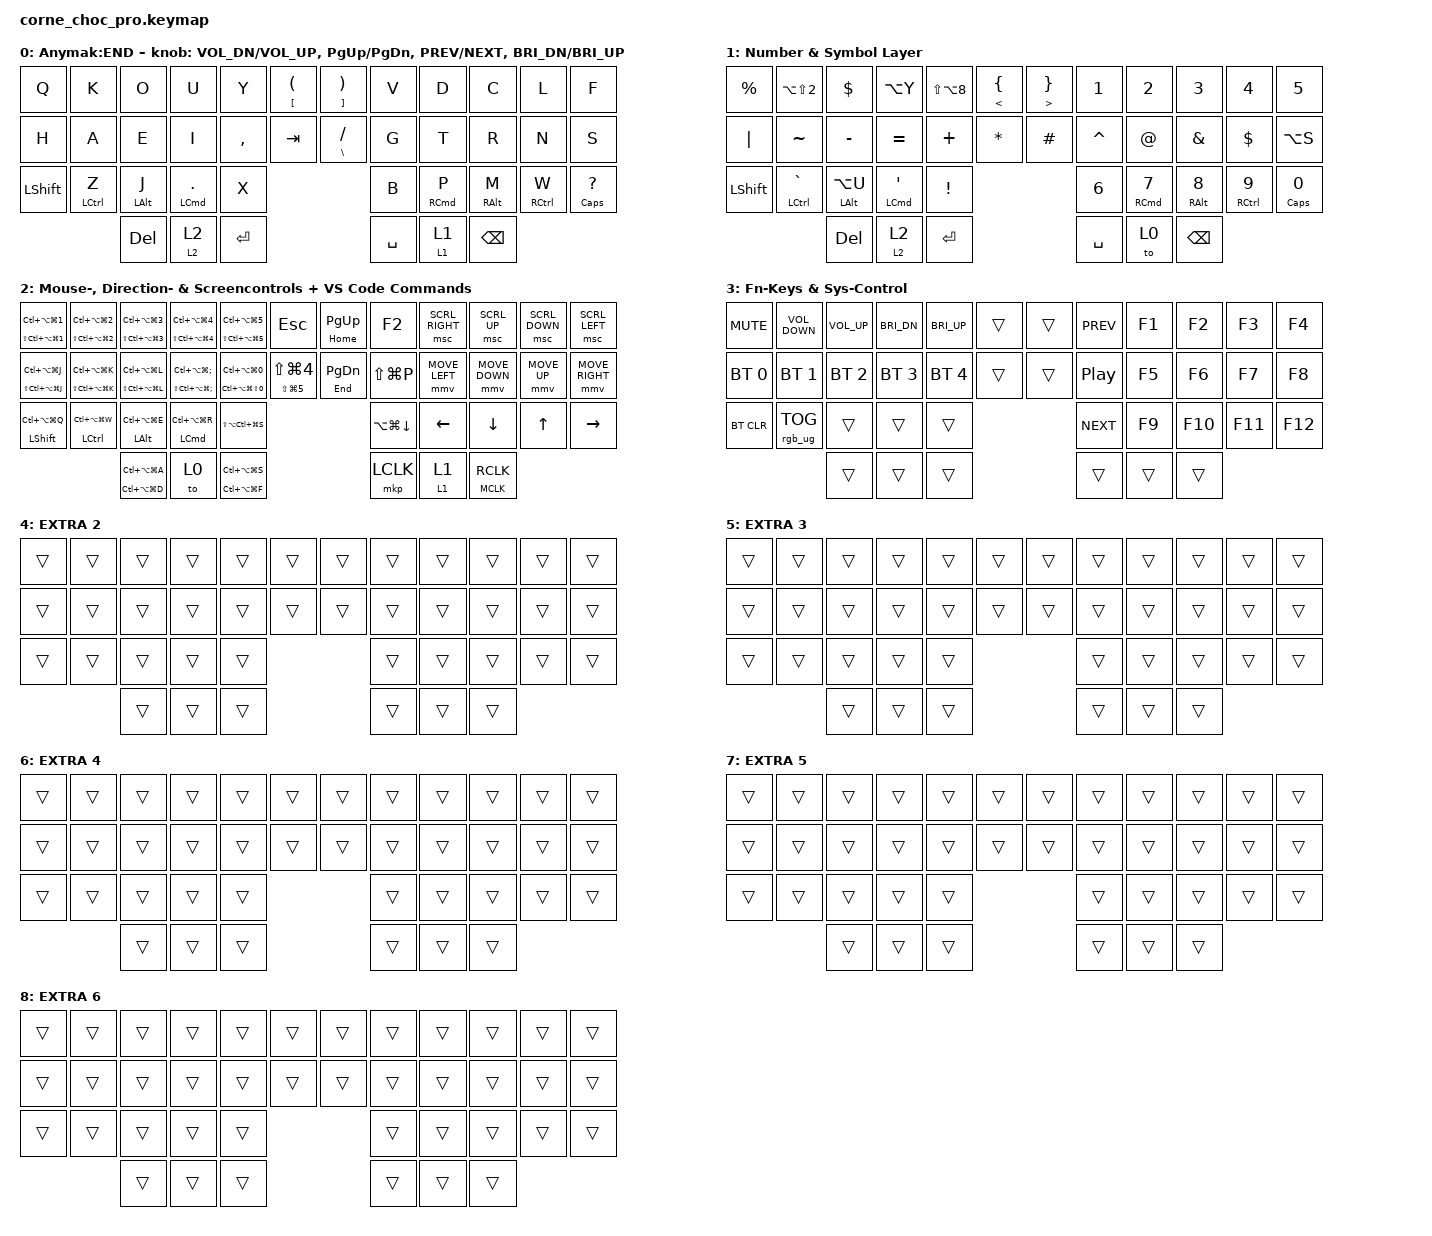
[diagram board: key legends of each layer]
/*
 * Copyright (c) 2020 The ZMK Contributors
 *
 * SPDX-License-Identifier: MIT
 */

#include <behaviors.dtsi>
#include <dt-bindings/zmk/bt.h>
#include <dt-bindings/zmk/keys.h>
#include <dt-bindings/zmk/pointing.h>
#include <dt-bindings/zmk/rgb.h>

&mt { flavor = "balanced"; };

/ {
    chosen { zmk,physical-layout = &five_col_layout; };
};

/ {
    combos {
        compatible = "zmk,combos";

        mo_control_layer {
            bindings = <&mo 3>;
            key-positions = <35 38>;
        };
    };

    behaviors {
        mo_to: mo_to {
            compatible = "zmk,behavior-hold-tap";
            label = "MO_TO";
            bindings = <&mo>, <&to>;

            #binding-cells = <2>;
            tapping-term-ms = <200>;
            flavor = "balanced";
        };

        mkp_ht: mkp_ht {
            compatible = "zmk,behavior-hold-tap";
            label = "MKP_HT";
            bindings = <&mkp>, <&mkp>;

            #binding-cells = <2>;
            tapping-term-ms = <200>;
            flavor = "balanced";
        };
    };

    keymap {
        compatible = "zmk,keymap";

        Alphabet {
            display-name = "Anymak:END";

            // ------------------------------------------------------------------------------
            // |  Q  |  K  |  O  |  U  |  Y  |  [ (  |  ] )  |  V  |  D  |  C  |  L  |  F  |
            // |  H  |  A  |  E  |  I  |  ,  |  TAB  |  / \  |  G  |  T  |  R  |  N  |  S  |
            // |  ⇧  | ⌃ Z | ⎇ J| ⌘ . |  X  |       |       |  B  | ⌘ P | ⎇ M | ⌃ M |  ⇪  |
            //             | DEL | LWR | ENT |       |       | SPC | RSE | BSP |
            //
            // Legend:
            // - () indicates Mod-Tap (e.g., [ becomes LEFT_BRACKET when tapped, LEFT_PARENTHESIS when held)
            // - ⎇ = Alt, ⌃ = Control, ⌘ = Command, ⇧ = Shift, ⇪ = Caps
            // - LWR = Layer 2, RSE = Layer 1

            bindings = <
  &kp Q           &kp K               &kp O           &kp U                    &kp Y      &mt LEFT_BRACKET LEFT_PARENTHESIS  &mt RIGHT_BRACKET RIGHT_PARENTHESIS  &kp V      &kp D                &kp C            &kp L                &kp F
  &kp H           &kp A               &kp E           &kp I                    &kp COMMA  &kp TAB                            &mt BACKSLASH SLASH                  &kp G      &kp T                &kp R            &kp N                &kp S
  &kp LEFT_SHIFT  &mt LEFT_CONTROL Z  &mt LEFT_ALT J  &mt LEFT_COMMAND PERIOD  &kp X                                                                              &kp B      &mt RIGHT_COMMAND P  &mt RIGHT_ALT M  &mt RIGHT_CONTROL W  &mt CAPSLOCK QUESTION
                                      &kp DELETE      &mo_to 2 2               &kp ENTER                                                                          &kp SPACE  &mo_to 1 1           &kp BACKSPACE
            >;

            sensor-bindings = <&inc_dec_kp C_VOL_DN C_VOL_UP &inc_dec_kp PG_UP PG_DN &inc_dec_kp C_PREV C_NEXT &inc_dec_kp C_BRI_DN C_BRI_UP>;
        };

        Numbers_and_Symbols {
            display-name = "Number & Symbol Layer";

            // -----------------------------------------------------------------------------
            // |  %  |  @  |  $  |  Y  |  *^ |  < {  |  > }  |  1  |  2  |  3  |  4  |  5  |
            // |  |  |  ~  |  =  |  -  |  +  |  #    |   *   |  @  | ←   |  ↓  |  ↑   |  →  |
            // | ⇧ & | ⌃ ` | ⎇ U |⌘ ' | ! ? |               |  6  | ⌘ 7 | ⎇ 8 |  ⌃ 9 | ⇪ 0 |
            //             |     |     |     |               |     |     |     |
            //
            // Legend:
            // - ⎇ = Alt, ⌃ = Control, ⌘ = Command, ⇧ = Shift, ⇪ = Caps
            // - () indicates Mod-Tap
            // - Layer is mainly numeric/symbol with modifiers and nav keys

            bindings = <
  &kp PERCENT     &kp LA(LS(NUMBER_2))    &kp DOLLAR          &kp LA(Y)             &kp LS(LA(N8))   &mt LESS_THAN LEFT_BRACE  &mt GREATER_THAN RIGHT_BRACE  &kp NUMBER_1  &kp NUMBER_2          &kp NUMBER_3      &kp NUMBER_4          &kp N5
  &kp PIPE        &kp TILDE               &kp MINUS           &kp EQUAL             &kp PLUS         &kp ASTERISK              &kp HASH                      &kp CARET     &kp AT                &kp AMPERSAND     &kp DOLLAR            &kp LA(S)
  &kp LEFT_SHIFT  &mt LEFT_CONTROL GRAVE  &mt LEFT_ALT LA(U)  &mt LEFT_COMMAND SQT  &kp EXCLAMATION                                                          &kp NUMBER_6  &mt RIGHT_COMMAND N7  &mt RIGHT_ALT N8  &mt RIGHT_CONTROL N9  &mt CAPSLOCK N0
                                          &kp DELETE          &mo_to 2 2            &kp ENTER                                                                &kp SPACE     &to 0                 &kp BACKSPACE
            >;
        };

        Controls_and_Macros {
            display-name = "Mouse-, Direction- &  Screencontrols + VS Code Commands";
            bindings = <
  &mt LS(LC(LA(LG(N1)))) LC(LA(LG(N1)))  &mt LS(LC(LA(LG(N2)))) LC(LA(LG(N2)))  &mt LS(LC(LA(LG(N3)))) LC(LA(LG(N3)))  &mt LS(LC(LA(LG(NUMBER_4)))) LC(LA(LG(NUMBER_4)))    &mt LS(LC(LA(LG(N5)))) LC(LA(LG(N5)))  &kp ESCAPE                 &mt HOME PAGE_UP   &kp F2            &msc SCRL_RIGHT  &msc SCRL_UP       &msc SCRL_DOWN  &msc SCRL_LEFT
  &mt LS(LC(LA(LG(J)))) LC(LA(LG(J)))    &mt LS(LC(LA(LG(K)))) LC(LA(LG(K)))    &mt LS(LC(LA(LG(L)))) LC(LA(LG(L)))    &mt LS(LC(LA(LG(SEMICOLON)))) LC(LA(LG(SEMICOLON)))  &mt LC(LA(LG(LS(N0)))) LC(LA(LG(N0)))  &mt LS(LG(N5)) LS(LG(N4))  &mt END PAGE_DOWN  &kp LS(LG(P))     &mmv MOVE_LEFT   &mmv MOVE_DOWN     &mmv MOVE_UP    &mmv MOVE_RIGHT
  &mt LEFT_SHIFT LC(LA(LG(Q)))           &mt LEFT_CONTROL LC(LA(LG(W)))         &mt LEFT_ALT LC(LA(LG(E)))             &mt LEFT_COMMAND LC(LA(LG(R)))                       &kp LS(LA(LC(LG(S))))                                                                &kp LA(LG(DOWN))  &kp LEFT         &kp DOWN           &kp UP          &kp RIGHT
                                                                                &mt LC(LA(LG(D))) LC(LA(LG(A)))        &to 0                                                &mt LC(LA(LG(F))) LC(LA(LG(S)))                                                      &mkp LCLK         &mo_to 1 1       &mkp_ht MCLK RCLK
            >;
        };

        fn_and_control {
            display-name = "Fn-Keys & Sys-Control";

            // --------------------------------------------------------------------------------
            // |  🔇  | VOL- | VOL+ | BRI- | BRI+ |       |       | ⏮  | F1   | F2   | F3  | F4  |
            // | BT1  | BT2  | BT3  | BT4  | BT5  |       |       | ⏯  | F5   | F6   | F7  | F8  |
            // | BCLR | RGB  | RST  |      |      |               | ⏭  | F9   | F10  | F11 | F12 |
            //               |      |      |      |               |     |      |      |
            //
            // Legend:
            // - 🔇 = Mute
            // - VOL-, VOL+ = Volume controls
            // - BRI-, BRI+ = Brightness controls
            // - ⏮ / ⏯ / ⏭ = Previous / Play-Pause / Next Track
            // - BT1–BT5 = Bluetooth Profile Selects
            // - BCLR = Clear Bluetooth Bonds
            // - RGB = Toggle RGB
            // - RST = Reset

            bindings = <
  &kp C_MUTE    &kp C_VOLUME_DOWN  &kp C_VOL_UP  &kp C_BRI_DN  &kp C_BRI_UP  &trans  &trans  &kp C_PREV  &kp F1  &kp F2   &kp F3   &kp F4
  &bt BT_SEL 0  &bt BT_SEL 1       &bt BT_SEL 2  &bt BT_SEL 3  &bt BT_SEL 4  &trans  &trans  &kp C_PP    &kp F5  &kp F6   &kp F7   &kp F8
  &bt BT_CLR    &rgb_ug RGB_TOG    &trans        &trans        &trans                        &kp C_NEXT  &kp F9  &kp F10  &kp F11  &kp F12
                                   &trans        &trans        &trans                        &trans      &trans  &trans
            >;
        };

        extra_layer_2 {
            display-name = "EXTRA 2";
            bindings = <
  &trans  &trans  &trans  &trans  &trans  &trans  &trans  &trans  &trans  &trans  &trans  &trans
  &trans  &trans  &trans  &trans  &trans  &trans  &trans  &trans  &trans  &trans  &trans  &trans
  &trans  &trans  &trans  &trans  &trans                  &trans  &trans  &trans  &trans  &trans
                  &trans  &trans  &trans                  &trans  &trans  &trans
            >;
        };

        extra_layer_3 {
            display-name = "EXTRA 3";
            bindings = <
  &trans  &trans  &trans  &trans  &trans  &trans  &trans  &trans  &trans  &trans  &trans  &trans
  &trans  &trans  &trans  &trans  &trans  &trans  &trans  &trans  &trans  &trans  &trans  &trans
  &trans  &trans  &trans  &trans  &trans                  &trans  &trans  &trans  &trans  &trans
                  &trans  &trans  &trans                  &trans  &trans  &trans
            >;
        };

        extra_layer_4 {
            display-name = "EXTRA 4";
            bindings = <
  &trans  &trans  &trans  &trans  &trans  &trans  &trans  &trans  &trans  &trans  &trans  &trans
  &trans  &trans  &trans  &trans  &trans  &trans  &trans  &trans  &trans  &trans  &trans  &trans
  &trans  &trans  &trans  &trans  &trans                  &trans  &trans  &trans  &trans  &trans
                  &trans  &trans  &trans                  &trans  &trans  &trans
            >;
        };

        extra_layer_5 {
            display-name = "EXTRA 5";
            bindings = <
  &trans  &trans  &trans  &trans  &trans  &trans  &trans  &trans  &trans  &trans  &trans  &trans
  &trans  &trans  &trans  &trans  &trans  &trans  &trans  &trans  &trans  &trans  &trans  &trans
  &trans  &trans  &trans  &trans  &trans                  &trans  &trans  &trans  &trans  &trans
                  &trans  &trans  &trans                  &trans  &trans  &trans
            >;
        };

        extra_layer_6 {
            display-name = "EXTRA 6";
            bindings = <
  &trans  &trans  &trans  &trans  &trans  &trans  &trans  &trans  &trans  &trans  &trans  &trans
  &trans  &trans  &trans  &trans  &trans  &trans  &trans  &trans  &trans  &trans  &trans  &trans
  &trans  &trans  &trans  &trans  &trans                  &trans  &trans  &trans  &trans  &trans
                  &trans  &trans  &trans                  &trans  &trans  &trans
            >;
        };
    };
};
